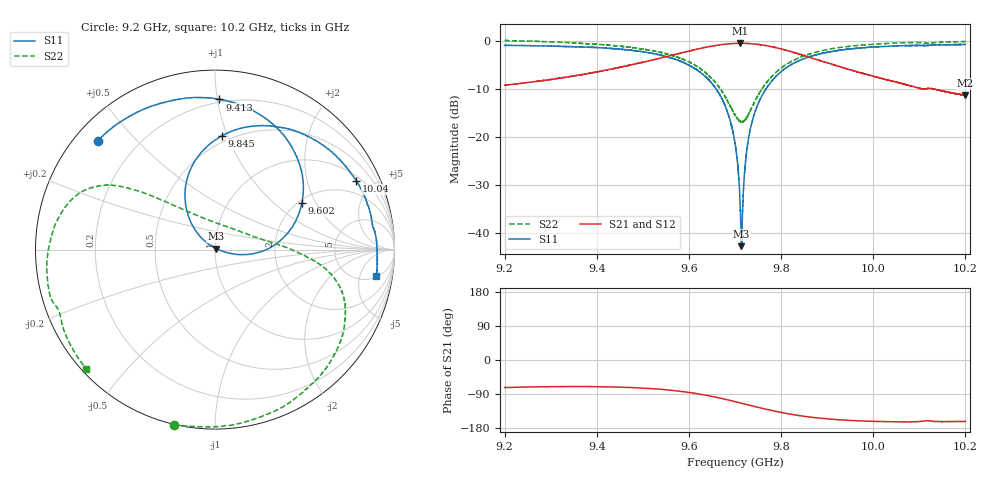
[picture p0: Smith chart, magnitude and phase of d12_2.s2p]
!Agilent Technologies,N5242A,MY51221714,A.09.90.19
!Agilent N5242A: A.09.90.19
!Date: Tuesday, March 26, 2024 16:33:33
!Correction: S11(Full 2 Port(1,2))
!S21(Full 2 Port(1,2))
!S12(Full 2 Port(1,2))
!S22(Full 2 Port(1,2))
!S2P File: Measurements: S11, S21, S12, S22:
# Hz S  dB  R 50
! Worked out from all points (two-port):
!   16001 points, 9.2 GHz to 10.2 GHz, reference 50 ohm
!   highest |S21| = -0.57 dB at 9.712 GHz (marker M1); lowest = -11.4 dB at 10.2 GHz (marker M2)
!   |S21| within 3 dB of the highest: 9.541583 GHz to 9.541675 GHz (91.64 kHz wide, 0.00096 % of centre); 9.542 GHz to 9.865 GHz (322.7 MHz wide, 3.33 % of centre)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
!   lowest |S11| = -42.8 dB at 9.714 GHz (marker M3), VSWR 1.01, Z = 50.4 + j0.601 ohm
!   |S11| at or under -10 dB: 9.65849 GHz to 9.658537 GHz (46.77 kHz wide, 0.000484 % of centre); 9.659 GHz to 9.768 GHz (109 MHz wide, 1.12 % of centre); 9.767574 GHz to 9.767718 GHz (143.7 kHz wide, 0.00147 % of centre)
!   |S22| runs from -17.0 to 0.0 dB; largest |S21 - S12| = 0.012
!   S11 on the Smith chart (normalised r, x): 9.2 GHz: 0.07, +0.39; 9.413 GHz: 0.18, +1.01; 9.602 GHz: 2.10, +1.55; 9.845 GHz: 0.45, +0.95; 10.04 GHz: 1.22, +4.00; 10.2 GHz: 5, -9
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9.2e9  -1.00 137.2  -9.29 -72.6  -9.27 -73.4  0.00 -103.1
9.366688e9  -1.33 100.0  -7.10 -70.1  -7.09 -70.8  -0.61 -58.5
9.413375e9  -1.54 88.3  -6.28 -70.5  -6.27 -71.3  -0.87 -46.7
9.533375e9  -2.94 53.3  -3.77 -76.8  -3.76 -77.4  -2.34 -20.0
9.602125e9  -5.22 28.0  -2.15 -86.0  -2.14 -86.5  -4.53 -8.2
9.666188e9  -11.16 -0.7  -0.92 -100.1  -0.91 -100.7  -9.77 6.7
9.686688e9  -15.77 -9.9  -0.67 -105.9  -0.67 -106.4  -13.10 19.9
9.7e9  -21.30 -14.0  -0.59 -109.8  -0.59 -110.4  -15.44 38.1
9.705625e9  -25.59 -13.1  -0.58 -111.5  -0.57 -112.1  -16.33 49.1
9.711688e9  -35.41 4.2  -0.57 -113.4  -0.56 -113.9  -16.82 63.2
9.714e9  -42.76 55.0  -0.57 -114.1  -0.57 -114.7  -16.95 68.7
9.717062e9  -33.93 129.1  -0.57 -115.0  -0.56 -115.6  -16.84 76.2
9.728188e9  -21.08 140.1  -0.61 -118.4  -0.60 -118.9  -15.51 101.7
9.747938e9  -13.63 131.3  -0.79 -124.3  -0.77 -124.9  -11.77 125.1
9.78725e9  -7.62 112.3  -1.45 -135.2  -1.45 -135.9  -6.73 139.6
9.844688e9  -3.96 86.7  -2.96 -147.6  -2.97 -148.2  -3.36 148.0
9.866688e9  -3.23 78.1  -3.63 -151.2  -3.63 -151.7  -2.64 151.2
9.934375e9  -1.92 55.0  -5.63 -158.4  -5.64 -159.0  -1.35 162.1
1.003338e10  -1.19 27.8  -8.25 -162.7  -8.25 -163.3  -0.59 -177.6
1.004062e10  -1.15 25.9  -8.42 -162.8  -8.42 -163.4  -0.55 -176.1
1.019988e10  -0.82 -9.2  -11.41 -162.1  -11.41 -162.7  -0.20 -137.3
1.02e10  -0.80 -9.3  -11.40 -162.2  -11.40 -162.7  -0.21 -137.2
